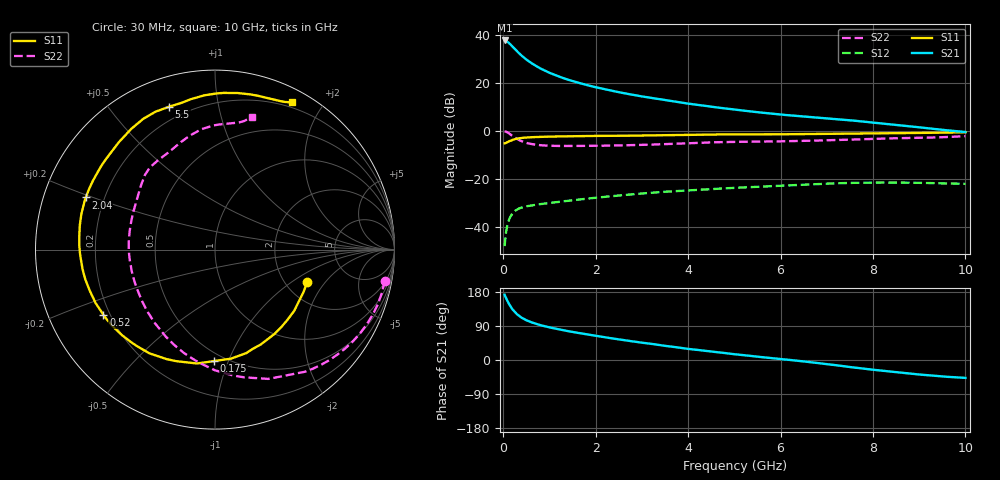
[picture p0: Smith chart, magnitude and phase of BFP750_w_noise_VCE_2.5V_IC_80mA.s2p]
! Infineon Technologies  Discrete & RF Semiconductors
! BFP750
! VCE =  2.5 V,  IC =  80 mA
! Common Emitter S-Parameters:  Jan 2016
# GHz  S  MA  R  50
!  f  S11  S21  S12  S22
! GHz  MAG  ANG  MAG  ANG  MAG  ANG  MAG  ANG
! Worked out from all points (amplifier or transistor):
!   229 points, 30 MHz to 10 GHz, reference 50 ohm
!   highest |S21| = 37.6 dB at 30 MHz (marker M1)
!   |S21| within 3 dB of that: start of sweep to 223.1 MHz
!   unconditionally stable (mu >= 1): 3.431 GHz to end of sweep
!   at 280 MHz: K = 0.20, MSG = 33.3 dB, |S12| = -33.2 dB
!   at 1.78 GHz: K = 0.78, MSG = 23.8 dB, |S12| = -28.5 dB
!   at 10 GHz: K = 1.05, MAG = 9.5 dB, |S12| = -22.2 dB
!   lowest NFmin = 1.35 dB at 450 MHz
!   S11 on the Smith chart (normalised r, x): 30 MHz: 2.61, -1.35; 175 MHz: 0.44, -0.89; 520 MHz: 0.17, -0.26; 2.04 GHz: 0.13, +0.19; 5.5 GHz: 0.14, +0.72; 10 GHz: 0.15, +1.64
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0.03  0.5444 -19.5  75.87 172.1  0.0039 82.2  0.9612 -10.4
0.05  0.5498 -32.0  75.34 166.2  0.0062 78.1  0.9574 -18.5
0.07  0.5621 -44.0  73.59 160.9  0.0085 73.7  0.9426 -26.2
0.1  0.5789 -59.7  70.25 153.6  0.0116 67.3  0.9109 -37.2
0.14  0.6068 -77.6  64.93 144.8  0.0151 59.6  0.8588 -50.6
0.175  0.6211 -90.5  59.95 138.5  0.0173 54.2  0.8063 -60.3
0.2  0.6424 -99.0  56.65 133.7  0.0188 51.0  0.7792 -67.6
0.24  0.6581 -109.2  51.67 128.2  0.0206 46.6  0.7301 -77.1
0.3  0.6839 -122.4  45.03 120.6  0.0227 41.6  0.6725 -90.0
0.4  0.7042 -137.5  36.51 111.5  0.0249 36.0  0.602 -106.6
0.52  0.7199 -149.7  29.49 104.1  0.0266 32.3  0.5498 -121.5
0.7  0.7348 -162.1  22.52 95.7  0.0285 29.5  0.5096 -138.1
1  0.7491 -175.5  16.06 86.0  0.031 28.1  0.4844 -156.0
1.3  0.7593 175.2  12.45 78.4  0.0336 28.0  0.4783 -167.9
1.7  0.7704 165.3  9.518 69.8  0.0371 27.7  0.48 -179.6
2.04  0.7762 158.0  7.888 63.0  0.0402 27.1  0.4835 172.3
3.4  0.7988 133.7  4.48 39.2  0.0523 21.4  0.5188 146.9
5.1  0.836 112.2  2.682 14.1  0.0648 11.3  0.5852 127.1
5.5  0.8361 107.8  2.422 8.6  0.0675 8.7  0.5903 122.5
6.8  0.8559 95.9  1.874 -7.9  0.0771 -0.8  0.6216 109.1
8.4  0.8867 77.2  1.346 -30.9  0.0826 -16.4  0.69 91.3
10  0.9243 62.5  0.936 -47.2  0.0777 -28.2  0.7669 74.4
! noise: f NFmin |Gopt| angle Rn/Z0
0.45  1.35  0.27  -168  0.4
0.9  1.37  0.35  -163  0.18
1.5  1.39  0.46  -155  0.09
1.9  1.39  0.48  -149  0.09
2.4  1.39  0.48  -142  0.11
3.5  1.63  0.48  -126  0.15
